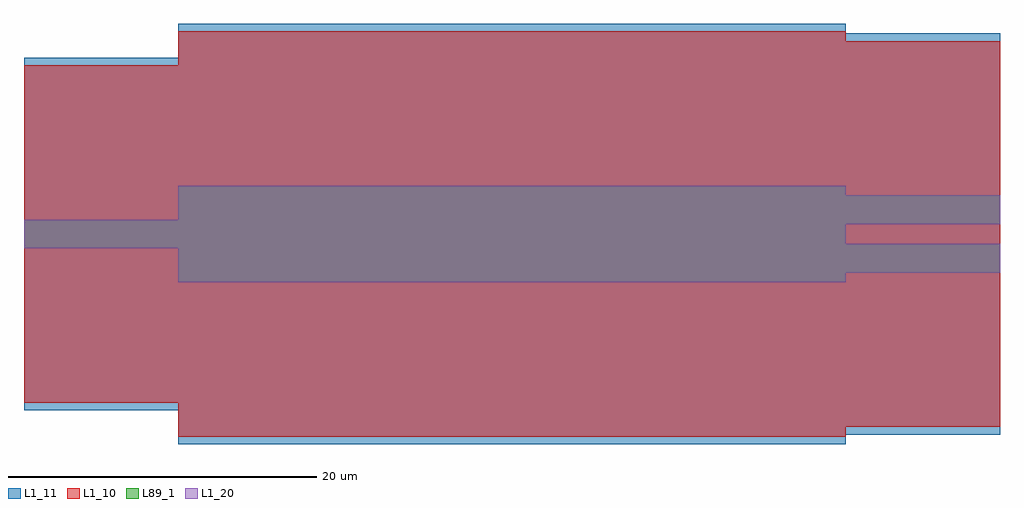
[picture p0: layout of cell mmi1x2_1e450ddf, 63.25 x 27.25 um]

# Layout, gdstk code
import gdstk
lib = gdstk.Library(unit=1e-6, precision=1e-09)
def R(c, l, rs):  # rectangles x0, y0, x1, y1
    for r in rs: c.add(gdstk.rectangle(r[:2], r[2:], *l))
L1_10 = (1, 10)
L1_11 = (1, 11)
L1_20 = (1, 20)
L89_1 = (89, 1)

mmi1x2_1e450ddf = lib.new_cell('mmi1x2_1e450ddf')
R(mmi1x2_1e450ddf, L1_10, [(0,-13.125,43.25,13.125), (43.25,-12.5,53.25,9.375), (-10,-10.937,0,10.937), (43.25,-9.375,53.25,12.5)])
R(mmi1x2_1e450ddf, L1_11, [(0,-13.625,43.25,13.625), (43.25,-13,53.25,9.875), (-10,-11.437,0,11.437), (43.25,-9.875,53.25,13)])
R(mmi1x2_1e450ddf, L1_20, [(0,-3.125,43.25,3.125), (43.25,-2.5,53.25,-0.625), (-10,-0.937,0,0.937), (43.25,0.625,53.25,2.5)])
R(mmi1x2_1e450ddf, L89_1, [(0,-3.125,43.25,3.125), (43.25,-2.5,53.25,-0.625), (-10,-0.937,0,0.937), (43.25,0.625,53.25,2.5)])

lib.write_gds('mmi1x2_1e450ddf.gds')
